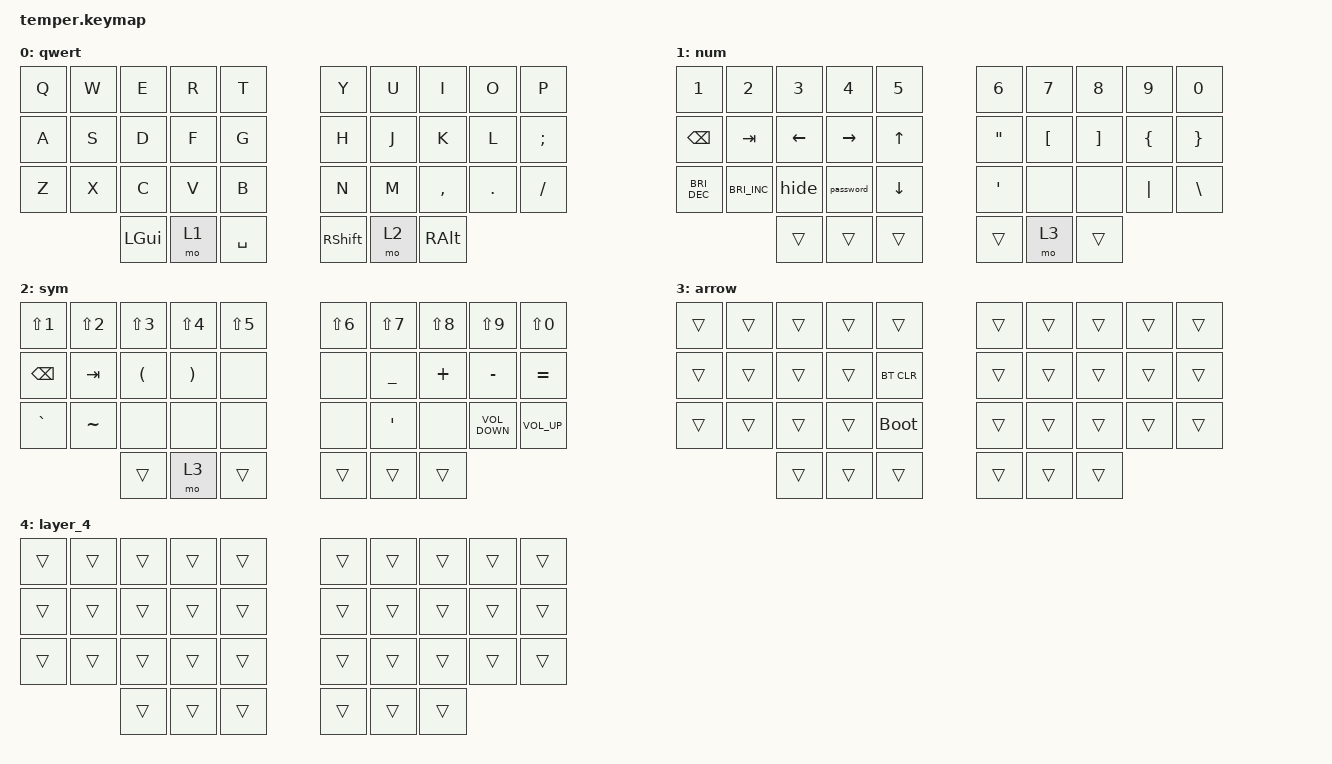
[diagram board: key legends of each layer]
/*
 * Copyright (c) 2020 The ZMK Contributors
 *
 * SPDX-License-Identifier: MIT
 */

#include <behaviors.dtsi>
#include <dt-bindings/zmk/bt.h>
#include <dt-bindings/zmk/keys.h>

#define DEFAULT 0
#define QWERTY 1
#define NUM 2
#define NAV 3
#define FUN 4

/ {
    conditional_layers {
        compatible = "zmk,conditional-layers";

        tri_layer {
            if-layers = <1 2>;
            then-layer = <3>;
        };
    };

    behaviors {
        bspc_del: backspace_delete {
            compatible = "zmk,behavior-mod-morph";
            #binding-cells = <0>;
            bindings = <&kp BACKSPACE>, <&kp DELETE>;

            mods = <(MOD_LSFT|MOD_RSFT)>;
            keep-mods = <(MOD_RSFT)>;
        };

        super_bspc: super_backspace {
            compatible = "zmk,behavior-mod-morph";
            #binding-cells = <0>;
            bindings = <&kp BACKSPACE>, <&kp LA(BACKSPACE)>;

            mods = <(MOD_LSFT|MOD_RSFT)>;
        };

        smart_shft: smart_shift {
            compatible = "zmk,behavior-mod-morph";
            #binding-cells = <0>;
            bindings = <&kp LSHFT>, <&caps_word>;

            mods = <(MOD_LSFT)>;
        };

        comma_semi: comma_semi {
            compatible = "zmk,behavior-mod-morph";
            #binding-cells = <0>;
            bindings = <&kp COMMA>, <&kp SEMI>;

            mods = <(MOD_LSFT)>;
        };

        dot_colon: dot_colon {
            compatible = "zmk,behavior-mod-morph";
            #binding-cells = <0>;
            bindings = <&kp DOT>, <&kp COLON>;

            mods = <(MOD_LSFT)>;
        };

        qmrk_excl: qmrk_excl {
            compatible = "zmk,behavior-mod-morph";
            #binding-cells = <0>;
            bindings = <&kp QMARK>, <&kp EXCL>;

            mods = <(MOD_LSFT)>;
        };

        slh_morph: slh_morph {
            compatible = "zmk,behavior-mod-morph";
            #binding-cells = <0>;
            bindings = <&kp FSLH>, <&kp BSLH>;

            mods = <(MOD_LSFT)>;
        };

        amps_morph: amps_morph {
            compatible = "zmk,behavior-mod-morph";
            #binding-cells = <0>;
            bindings = <&kp AMPS>, <&kp PIPE>;

            mods = <(MOD_LSFT)>;
        };
    };

    combos {
        compatible = "zmk,combos";

        a {
            bindings = <&kp LCTRL>;
            key-positions = <0 10>;
        };

        b {
            bindings = <&kp LEFT_ALT>;
            key-positions = <11 1>;
        };

        c {
            bindings = <&kp LSHIFT>;
            key-positions = <2 12>;
        };

        d {
            bindings = <&kp LGUI>;
            key-positions = <3 13>;
        };

        e {
            bindings = <&kp ESC>;
            key-positions = <4 14>;
        };

        f {
            bindings = <&kp ENTER>;
            key-positions = <5 15>;
        };

        g {
            bindings = <&kp RGUI>;
            key-positions = <6 16>;
        };

        h {
            bindings = <&kp RSHFT>;
            key-positions = <17 7>;
        };

        i {
            bindings = <&kp RALT>;
            key-positions = <8 18>;
        };

        j {
            bindings = <&kp RCTRL>;
            key-positions = <19 9>;
        };

        k {
            bindings = <&kp LCTRL>;
            key-positions = <13 23>;
        };

        l {
            bindings = <&kp RCTRL>;
            key-positions = <16 26>;
        };

        e_bis {
            bindings = <&kp ESC>;
            key-positions = <17 27>;
        };

        f_bis {
            bindings = <&kp ENTER>;
            key-positions = <12 22>;
        };

        lh_backspace_combo {
            bindings = <&kp BACKSPACE>;
            key-positions = <13 14>;
        };

        rh_backspace_combo {
            bindings = <&kp BACKSPACE>;
            key-positions = <15 16>;
        };
    };

    macros {
        hide: hide {
            compatible = "zmk,behavior-macro";
            #binding-cells = <0>;
            bindings = <&kp LG(H)>;
            label = "HIDE";
        };

        password: password {
            compatible = "zmk,behavior-macro";
            #binding-cells = <0>;
            bindings = <&kp LS(R) &kp L &kp N4 &kp N1 &kp LS(H) &kp K &kp N4 &kp N9 &kp AMPS &kp STAR>;
            label = "PASSWORD";
        };
    };

    keymap {
        compatible = "zmk,keymap";

        qwert {
            bindings = <
  &kp Q  &kp W  &kp E         &kp R  &kp T        &kp Y            &kp U  &kp I          &kp O    &kp P
  &kp A  &kp S  &kp D         &kp F  &kp G        &kp H            &kp J  &kp K          &kp L    &kp SEMI
  &kp Z  &kp X  &kp C         &kp V  &kp B        &kp N            &kp M  &kp COMMA      &kp DOT  &kp FSLH
                &kp LEFT_GUI  &mo 1  &kp SPACE    &kp RIGHT_SHIFT  &mo 2  &kp RIGHT_ALT
            >;
        };

        num {
            bindings = <
  &kp N1                &kp N2                &kp N3    &kp N4     &kp N5          &kp N6             &kp N7    &kp N8             &kp N9          &kp N0
  &kp BACKSPACE         &kp TAB               &kp LEFT  &kp RIGHT  &kp UP_ARROW    &kp DOUBLE_QUOTES  &kp LBKT  &kp RIGHT_BRACKET  &kp LEFT_BRACE  &kp RIGHT_BRACE
  &kp C_BRIGHTNESS_DEC  &kp C_BRIGHTNESS_INC  &hide     &password  &kp DOWN        &kp SQT            &none     &none              &kp PIPE        &kp BACKSLASH
                                              &trans    &trans     &trans          &trans             &mo 3     &trans
            >;
        };

        sym {
            bindings = <
  &kp LS(N1)     &kp LS(N2)  &kp LS(N3)            &kp LS(N4)             &kp LS(N5)    &kp LS(N6)  &kp LS(N7)        &kp LS(N8)  &kp LS(N9)         &kp LS(N0)
  &kp BACKSPACE  &kp TAB     &kp LEFT_PARENTHESIS  &kp RIGHT_PARENTHESIS  &none         &none       &kp UNDERSCORE    &kp PLUS    &kp MINUS          &kp EQUAL
  &kp GRAVE      &kp TILDE   &none                 &none                  &none         &none       &kp SINGLE_QUOTE  &none       &kp C_VOLUME_DOWN  &kp C_VOLUME_UP
                             &trans                &mo 3                  &trans        &trans      &trans            &trans
            >;
        };

        arrow {
            bindings = <
  &trans  &trans  &trans  &trans  &trans         &trans  &trans  &trans  &trans  &trans
  &trans  &trans  &trans  &trans  &bt BT_CLR     &trans  &trans  &trans  &trans  &trans
  &trans  &trans  &trans  &trans  &bootloader    &trans  &trans  &trans  &trans  &trans
                  &trans  &trans  &trans         &trans  &trans  &trans
            >;
        };

        layer_4 {
            bindings = <
  &trans  &trans  &trans  &trans  &trans    &trans  &trans  &trans  &trans  &trans
  &trans  &trans  &trans  &trans  &trans    &trans  &trans  &trans  &trans  &trans
  &trans  &trans  &trans  &trans  &trans    &trans  &trans  &trans  &trans  &trans
                  &trans  &trans  &trans    &trans  &trans  &trans
            >;
        };
    };
};
